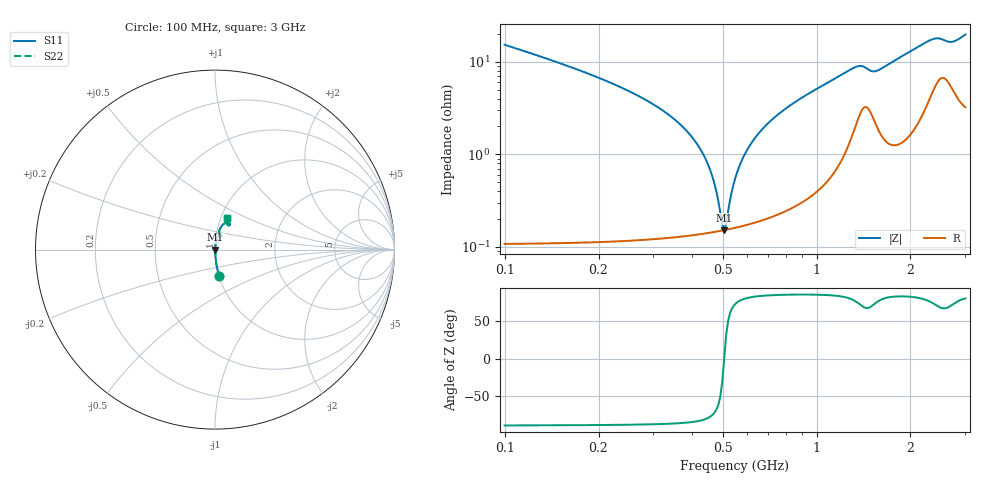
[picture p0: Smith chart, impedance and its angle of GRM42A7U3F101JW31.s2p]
!Murata Part Number: GRM42A7U3F101JW31
!These Parameters are Measured in Series Mode Connection
!Data Generated on Mar 30, 2021
!  o--ll--o
!Port1  Port2
!  o------o
!Operation Temp=25[degC], DC Bias Voltage=0[V]
!Freq. Start=100[MHz] Stop=3[GHz] 401[Steps]
# Hz S RI R 50
!Freq.(Hz) S11(Real) S11(Imag) S21(Real) S21(Imag) S12(Real) S12(Imag) S22(Real) S22(Imag)
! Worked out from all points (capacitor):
!   401 points, 100 MHz to 3 GHz, reference 50 ohm
!   read as one part in series: C = 99.9 pF near 114.5 MHz
!   lowest |Z| = 151 mohm at 506 MHz (marker M1)
!   series resonance near 505.6 MHz, so ESL is about 990 pH
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1e8  0.0239 -0.1492  0.9761 0.1492  0.9761 0.1492  0.0239 -0.1492
1.87e8  0.00649 -0.0731  0.9935 0.0731  0.9935 0.0731  0.00649 -0.0731
3.32e8  0.00199 -0.0274  0.998 0.0274  0.998 0.0274  0.00199 -0.0274
3.9725e8  0.00156 -0.0155  0.9984 0.0155  0.9984 0.0155  0.00156 -0.0155
4.48e8  0.00146 -0.00773  0.9985 0.00773  0.9985 0.00773  0.00146 -0.00773
4.6975e8  0.00146 -0.0047  0.9985 0.0047  0.9985 0.0047  0.00146 -0.0047
4.915e8  0.00148 -0.00181  0.9985 0.00181  0.9985 0.00181  0.00148 -0.00181
5.06e8  0.00151 4.7e-05  0.9985 -4.7e-05  0.9985 -4.7e-05  0.00151 4.7e-05
5.205e8  0.00154 0.00186  0.9985 -0.00186  0.9985 -0.00186  0.00154 0.00186
5.495e8  0.00163 0.00534  0.9984 -0.00534  0.9984 -0.00534  0.00163 0.00534
5.8575e8  0.00178 0.0095  0.9982 -0.0095  0.9982 -0.0095  0.00178 0.0095
6.51e8  0.00214 0.0165  0.9979 -0.0165  0.9979 -0.0165  0.00214 0.0165
7.525e8  0.00294 0.0267  0.9971 -0.0267  0.9971 -0.0267  0.00294 0.0267
8.83e8  0.00444 0.0391  0.9956 -0.0391  0.9956 -0.0391  0.00444 0.0391
1.0715e9  0.00816 0.0571  0.9918 -0.0571  0.9918 -0.0571  0.00816 0.0571
1.347e9  0.0286 0.0819  0.9714 -0.0819  0.9714 -0.0819  0.0286 0.0819
1.55e9  0.026 0.0731  0.974 -0.0731  0.974 -0.0731  0.026 0.0731
2.03575e9  0.034 0.1268  0.966 -0.1268  0.966 -0.1268  0.034 0.1268
2.333e9  0.0661 0.1502  0.9339 -0.1502  0.9339 -0.1502  0.0661 0.1502
2.5215e9  0.0839 0.1394  0.9161 -0.1394  0.9161 -0.1394  0.0839 0.1394
2.71725e9  0.0694 0.1384  0.9306 -0.1384  0.9306 -0.1384  0.0694 0.1384
3e9  0.0647 0.1766  0.9353 -0.1766  0.9353 -0.1766  0.0647 0.1766
